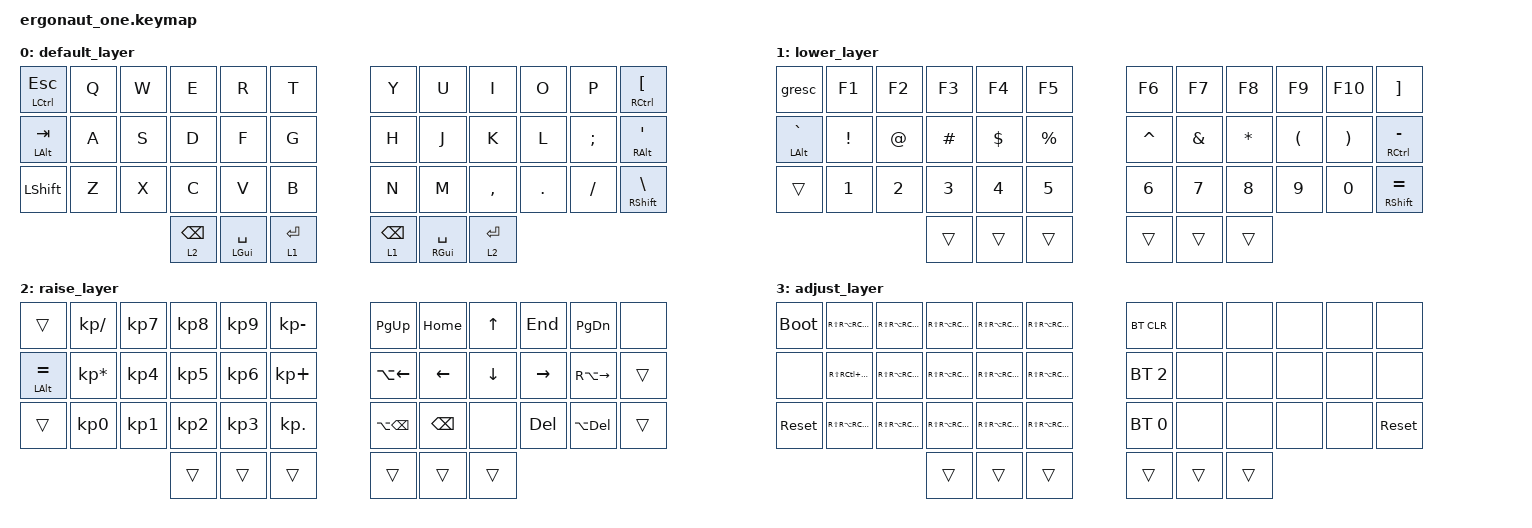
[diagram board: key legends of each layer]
#include <behaviors.dtsi>
#include <dt-bindings/zmk/keys.h>
#include <dt-bindings/zmk/bt.h>

#define DEF 0
#define LWR 1
#define RSE 2
#define ADJ 3

&lt {
    quick-tap-ms = <200>;
};

&mt {
    quick-tap-ms = <200>;
};

/ {
    conditional_layers {
        compatible = "zmk,conditional-layers";

        tri-layer {
            if-layers = <1 2>;
            then-layer = <3>;
        };
    };

    keymap {
        compatible = "zmk,keymap";

        default_layer {
            bindings = <
&mt LCTRL ESC     &kp Q  &kp W  &kp E            &kp R               &kp T      &kp Y            &kp U                &kp I      &kp O    &kp P     &mt RIGHT_CONTROL LBKT
&mt LEFT_ALT TAB  &kp A  &kp S  &kp D            &kp F               &kp G      &kp H            &kp J                &kp K      &kp L    &kp SEMI  &mt RIGHT_ALT SQT
&kp LEFT_SHIFT    &kp Z  &kp X  &kp C            &kp V               &kp B      &kp N            &kp M                &kp COMMA  &kp DOT  &kp FSLH  &mt RIGHT_SHIFT BSLH
                                &lt 2 BACKSPACE  &mt LEFT_GUI SPACE  &lt 1 RET  &lt 1 BACKSPACE  &mt RIGHT_GUI SPACE  &lt 2 RET
            >;
        };

        lower_layer {
            bindings = <
&gresc              &kp F1    &kp F2  &kp F3    &kp F4    &kp F5     &kp F6     &kp F7    &kp F8    &kp F9    &kp F10   &kp RIGHT_BRACKET
&mt LEFT_ALT GRAVE  &kp EXCL  &kp AT  &kp HASH  &kp DLLR  &kp PRCNT  &kp CARET  &kp AMPS  &kp STAR  &kp LPAR  &kp RPAR  &mt RCTRL MINUS
&trans              &kp N1    &kp N2  &kp N3    &kp N4    &kp N5     &kp N6     &kp N7    &kp N8    &kp N9    &kp N0    &mt RIGHT_SHIFT EQUAL
                                      &trans    &trans    &trans     &trans     &trans    &trans
            >;
        };

        raise_layer {
            bindings = <
&trans              &kp KP_SLASH     &kp KP_N7  &kp KP_N8  &kp KP_N9  &kp KP_MINUS  &kp PG_UP          &kp HOME       &kp UP    &kp END     &kp PAGE_DOWN   &none
&mt LEFT_ALT EQUAL  &kp KP_MULTIPLY  &kp KP_N4  &kp KP_N5  &kp KP_N6  &kp KP_PLUS   &kp LA(LEFT)       &kp LEFT       &kp DOWN  &kp RIGHT   &kp RA(RIGHT)   &trans
&trans              &kp KP_N0        &kp KP_N1  &kp KP_N2  &kp KP_N3  &kp KP_DOT    &kp LA(BACKSPACE)  &kp BACKSPACE  &none     &kp DELETE  &kp LA(DELETE)  &trans
                                                &trans     &trans     &trans        &trans             &trans         &trans
            >;
        };

        adjust_layer {
            bindings = <
&bootloader  &kp RS(RA(RC(RG(Q))))  &kp RS(RA(RC(RG(W))))  &kp RS(RA(RC(RG(E))))  &kp RS(RA(RC(RG(R))))  &kp RS(RA(RC(RG(T))))  &bt BT_CLR    &none   &none   &none  &none  &none
&none        &kp RS(RC(RA(RG(A))))  &kp RS(RA(RC(RG(S))))  &kp RS(RA(RC(RG(D))))  &kp RS(RA(RC(RG(F))))  &kp RS(RA(RC(RG(G))))  &bt BT_SEL 2  &none   &none   &none  &none  &none
&sys_reset   &kp RS(RA(RC(RG(Z))))  &kp RS(RA(RC(RG(X))))  &kp RS(RA(RC(RG(C))))  &kp RS(RA(RC(RG(V))))  &kp RS(RA(RC(RG(B))))  &bt BT_SEL 0  &none   &none   &none  &none  &sys_reset
                                                           &trans                 &trans                 &trans                 &trans        &trans  &trans
            >;
        };
    };
};
